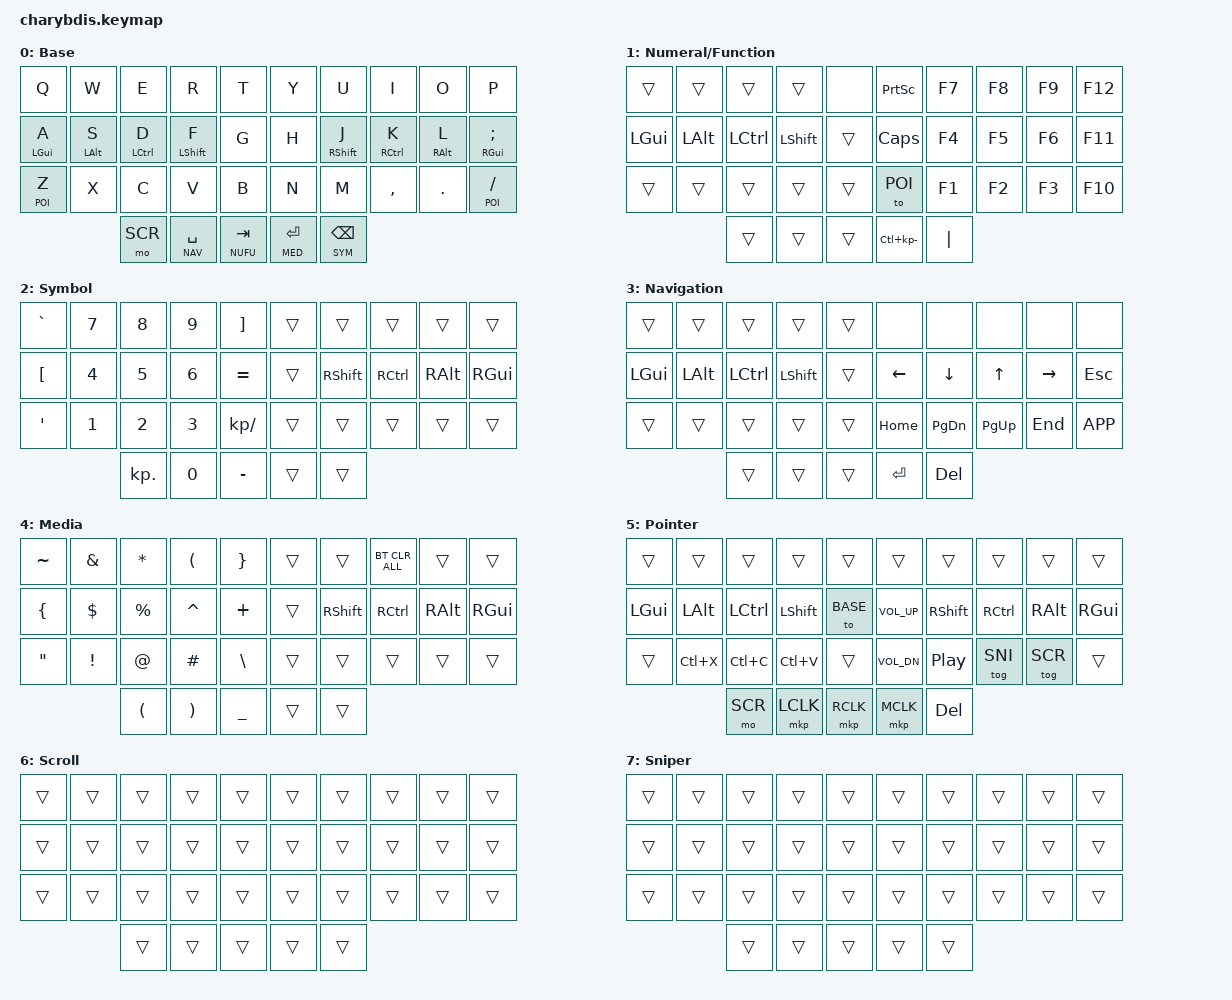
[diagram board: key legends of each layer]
#include <dt-bindings/zmk/mouse.h>
#include <behaviors/mouse_keys.dtsi>
#include <behaviors.dtsi>
#include <dt-bindings/zmk/bt.h>
#include <dt-bindings/zmk/keys.h>

#define BASE 0
#define NUFU 1
#define SYM 2
#define NAV 3
#define MED 4
#define POI 5
#define SCR 6
#define SNI 7

&sl {
  release-after-ms = <250>;
};

&mt {
    tapping-term-ms = <200>;
    require-prior-idle-ms = <150>;
};

/ {
    chosen { zmk,matrix_transform = &five_column_transform; };

    #include "combos.dtsi"

    behaviors {
        hml: homewrow_mods_left {
            compatible = "zmk,behavior-hold-tap";
            label = "HOMEROW_MODS_LEFT_HAND";
            bindings = <&kp>, <&kp>;

            #binding-cells = <2>;
            tapping-term-ms = <280>;
            hold-trigger-key-positions = <5 6 7 8 9 15 16 17 18 19 25 26 27 28 29 33 34>;
            flavor = "balanced";
            quick-tap-ms = <175>;
            require-prior-idle-ms = <125>;
            hold-trigger-on-release;
        };

        hmr: homewrow_mods_right {
            compatible = "zmk,behavior-hold-tap";
            label = "HOMEROW_MODS_RIGHT_HAND";
            bindings = <&kp>, <&kp>;

            #binding-cells = <2>;
            tapping-term-ms = <280>;
            hold-trigger-key-positions = <0 1 2 3 4 10 11 12 13 14 20 21 22 23 24 30 31 32>;
            flavor = "balanced";
            quick-tap-ms = <175>;
            require-prior-idle-ms = <125>;
            hold-trigger-on-release;
        };
    };


    keymap {
        compatible = "zmk,keymap";
        Base {
            label = "Base";
            bindings = <
              &kp       Q  &kp       W  &kp        E  &kp        R  &kp T        &kp Y  &kp        U  &kp        I  &kp       O  &kp               P  
              &hml LGUI A  &hml LALT S  &hml LCTRL D  &hml LSHFT F  &kp G        &kp H  &hml RSHFT J  &hml RCTRL K  &hml RALT L  &hml RGUI SEMICOLON  
              &lt   POI Z  &kp       X  &kp        C  &kp        V  &kp B        &kp N  &kp        M  &kp    COMMA  &kp     DOT  &lt POI SLASH
                                         &mo SCR  &lt NAV SPACE  &lt NUFU TAB    &lt MED ENTER &lt SYM BACKSPACE
            >;
        };

        NuFu {
            label = "Numeral/Function";
            bindings = <
              &trans       &trans       &trans        &trans        &none                &kp PSCRN        &kp F7   &kp F8   &kp F9       &kp F12
              &kp LGUI     &kp LALT     &kp LCTRL     &kp LSHFT     &trans               &kp CAPSLOCK     &kp F4   &kp F5   &kp F6       &kp F11
              &trans       &trans       &trans        &trans        &trans               &to POI  &kp F1  &kp F2   &kp F3       &kp F10
                                        &trans        &trans        &trans               &kp LC(KP_MINUS) &kp PIPE
            >;
        };

        Symbol {
            label = "Symbol";
            bindings = <
              &kp GRAVE   &kp N7       &kp N8        &kp N9        &kp RBKT             &trans       &trans        &trans        &trans       &trans  
              &kp LBKT    &kp N4       &kp N5        &kp N6        &kp EQUAL            &trans       &kp RSHFT     &kp RCTRL     &kp RALT     &kp RGUI  
              &kp APOS    &kp N1       &kp N2        &kp N3        &kp KP_DIVIDE        &trans       &trans        &trans        &trans       &trans  
                                       &kp KP_DOT    &kp N0        &kp MINUS            &trans       &trans
            >;
        };

        Navigation {
            label = "Navigation";
            bindings = <
              &trans       &trans       &trans        &trans        &trans               &none            &none         &none          &none        &none
              &kp LGUI     &kp LALT     &kp LCTRL     &kp LSHFT     &trans               &kp LEFT         &kp DOWN      &kp UP         &kp RIGHT    &kp ESC 
              &trans       &trans       &trans        &trans        &trans               &kp HOME         &kp PAGE_DOWN &kp PAGE_UP    &kp END      &kp K_APP
                                        &trans        &trans        &trans               &kp ENTER        &kp DELETE
            >;
        };

        Media {
            label = "Media";
            bindings = <
              &kp TILDE      &kp AMPS     &kp STAR      &kp LPAR      &kp RBRC         &trans       &trans       &bt BT_CLR_ALL        &trans       &trans
              &kp LBRC       &kp DLLR     &kp PRCNT     &kp CARET     &kp PLUS         &trans       &kp RSHIFT    &kp RCTRL     &kp RALT     &kp RGUI
              &kp DQT        &kp EXCL     &kp AT        &kp HASH      &kp BSLH         &trans       &trans        &trans        &trans       &trans
                                          &kp LPAR      &kp RPAR      &kp UNDER        &trans       &trans
            >;
        };

        Pointer {
            label = "Pointer";
            bindings = <
              &trans       &trans       &trans        &trans        &trans               &trans           &trans             &trans        &trans       &trans
              &kp LGUI     &kp LALT     &kp LCTRL     &kp LSHFT     &to BASE             &kp C_VOL_UP     &kp RSHFT          &kp RCTRL     &kp RALT     &kp RGUI
              &trans       &kp LC(X)    &kp LC(C)     &kp LC(V)      &trans              &kp C_VOL_DN     &kp C_PLAY_PAUSE   &tog SNI      &tog SCR     &trans
                                        &mo SCR       &mkp LCLK     &mkp RCLK            &mkp MCLK        &kp DELETE
            >;
        };

        Scroll {
            label = "Scroll";
            bindings = <
                &trans  &trans  &trans  &trans  &trans    &trans  &trans  &trans  &trans  &trans
                &trans  &trans  &trans  &trans  &trans    &trans  &trans  &trans  &trans  &trans
                &trans  &trans  &trans  &trans  &trans    &trans  &trans  &trans  &trans  &trans
                                &trans  &trans  &trans    &trans  &trans
            >;
        };

        Sniper {
            label = "Sniper";
            bindings = <
                &trans  &trans  &trans  &trans  &trans    &trans  &trans  &trans  &trans  &trans
                &trans  &trans  &trans  &trans  &trans    &trans  &trans  &trans  &trans  &trans
                &trans  &trans  &trans  &trans  &trans    &trans  &trans  &trans  &trans  &trans
                                &trans  &trans  &trans    &trans  &trans
            >;
        };
    };
};
